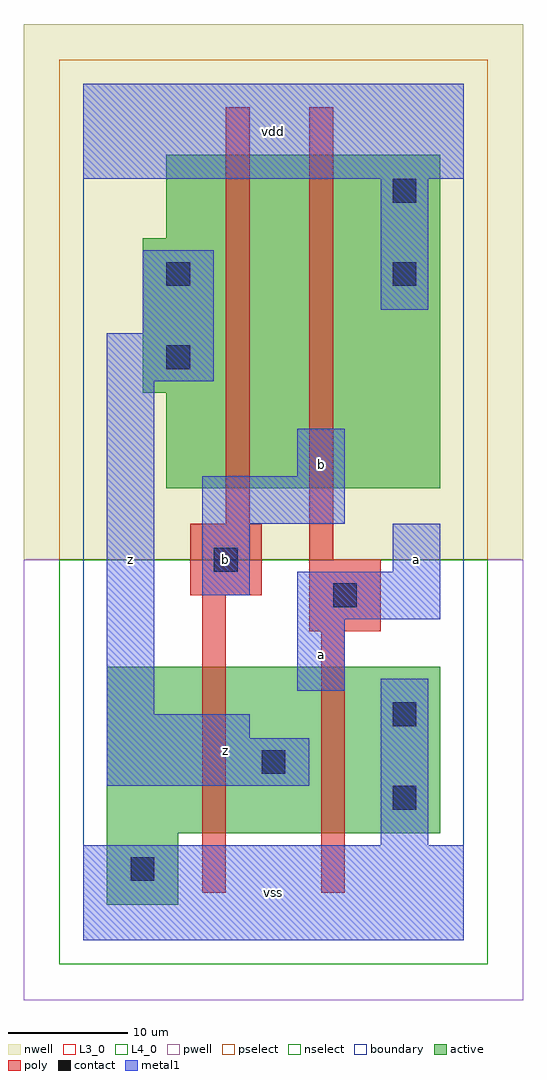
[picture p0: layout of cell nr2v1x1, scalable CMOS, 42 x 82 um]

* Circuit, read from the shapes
.subckt nr2v1x1 a b vdd vss z
M1 z b vss VSUBS nfet w=14u l=2u
M2 vss a z VSUBS nfet w=14u l=2u
M3 n1 b z n2 pfet w=28u l=2u
M4 vdd a n1 n2 pfet w=28u l=2u
.ends

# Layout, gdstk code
import gdstk
lib = gdstk.Library(unit=1e-6, precision=1e-09)
def R(c, l, rs):  # rectangles x0, y0, x1, y1
    for r in rs: c.add(gdstk.rectangle(r[:2], r[2:], *l))
L3_0 = (3, 0)
L4_0 = (4, 0)
contact = (25, 0)
pwell = (41, 0)
nwell = (42, 0)
active = (43, 0)
pselect = (44, 0)
nselect = (45, 0)
poly = (46, 0)
metal1 = (49, 0)
boundary = (63, 0)

nr2v1x1 = lib.new_cell('nr2v1x1')
R(nr2v1x1, L3_0, [(2,3,8,9), (2,9,30,23)])
R(nr2v1x1, L4_0, [(7,38,30,46), (5,46,30,59), (7,59,30,66)])
R(nr2v1x1, contact, [(4,5,6,7), (26,11,28,13), (15,14,17,16), (26,18,28,20), (21,28,23,30), (11,31,13,33), (7,48,9,50), (7,55,9,57), (26,55,28,57), (26,62,28,64)])
R(nr2v1x1, pwell, [(-5,-5,37,32)])
R(nr2v1x1, nwell, [(-5,32,37,77)])
R(nr2v1x1, active, [(2,3,8,9), (2,9,30,23), (7,38,30,46), (5,46,30,59), (7,59,30,66)])
R(nr2v1x1, pselect, [(-2,32,34,74)])
R(nr2v1x1, nselect, [(-2,-2,34,32)])
R(nr2v1x1, poly, [(10,4,12,29), (20,4,22,26), (19,26,25,32), (9,29,15,35), (19,32,21,70), (12,35,14,70)])
R(nr2v1x1, metal1, [(0,0,32,8), (25,8,29,22), (2,13,19,17), (2,17,14,19), (2,19,6,47), (18,21,22,27), (18,27,30,31), (10,29,14,35), (26,31,30,35), (10,35,22,39), (18,39,22,43), (2,47,11,51), (5,51,11,58), (25,53,29,64), (0,64,32,72)])
R(nr2v1x1, boundary, [(0,0,32,72)])
nr2v1x1.add(gdstk.Label('z', (4,32), layer=49, texttype=0))
nr2v1x1.add(gdstk.Label('z', (12,16), layer=49, texttype=0))
nr2v1x1.add(gdstk.Label('b', (12,32), layer=49, texttype=0))
nr2v1x1.add(gdstk.Label('vss', (16,4), layer=49, texttype=0))
nr2v1x1.add(gdstk.Label('a', (20,24), layer=49, texttype=0))
nr2v1x1.add(gdstk.Label('b', (20,40), layer=49, texttype=0))
nr2v1x1.add(gdstk.Label('vdd', (16,68), layer=49, texttype=0))
nr2v1x1.add(gdstk.Label('a', (28,32), layer=49, texttype=0))

lib.write_gds('nr2v1x1.gds')
